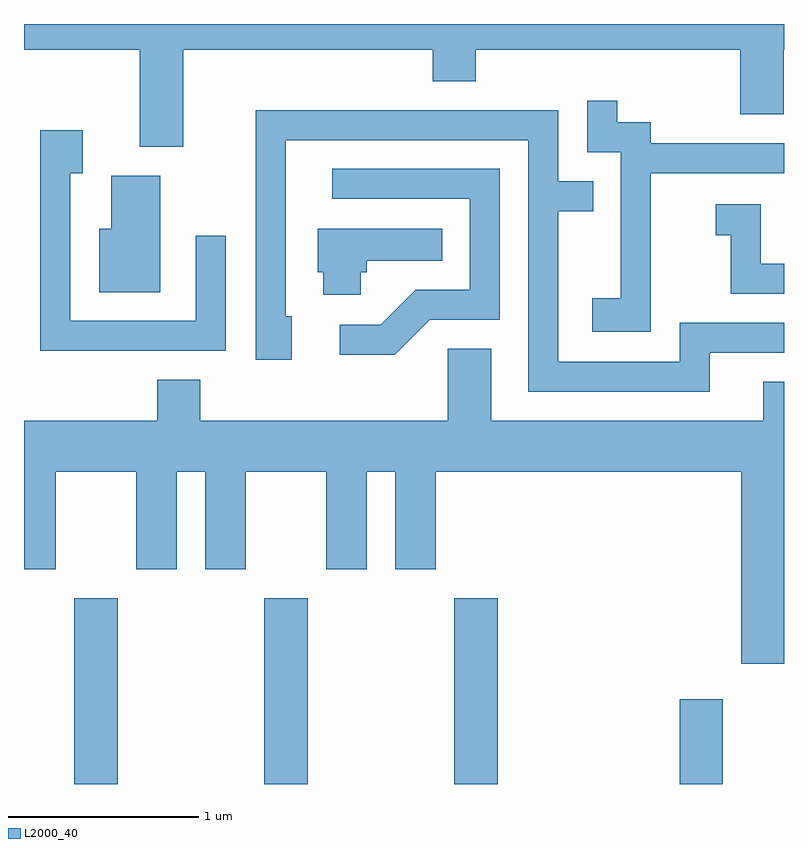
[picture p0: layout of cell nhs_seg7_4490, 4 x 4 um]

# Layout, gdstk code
import gdstk
lib = gdstk.Library(unit=1e-6, precision=1e-09)
def R(c, l, rs):  # rectangles x0, y0, x1, y1
    for r in rs: c.add(gdstk.rectangle(r[:2], r[2:], *l))
def A(c, l, x, y, w, h, nx, ny, dx, dy):  # array of equal rectangles
    R(c, l, [(x+i*dx, y+j*dy, x+i*dx+w, y+j*dy+h) for i in range(nx) for j in range(ny)])
def P(c, l, *ps):  # polygons
    for p in ps: c.add(gdstk.Polygon(p, *l))
L2000_40 = (2000, 40)

nhs_seg7_4490 = lib.new_cell('nhs_seg7_4490')
A(nhs_seg7_4490, L2000_40, 323.876, 1688.252, 0.228, 0.977, 3, 1, 1, 0)
R(nhs_seg7_4490, L2000_40, [(327.061,1688.252,327.289,1688.699)])
P(nhs_seg7_4490, L2000_40, [(324.449,1692.116),(325.761,1692.116),(325.761,1691.951),(325.989,1691.951),(325.989,1692.116),(327.381,1692.116),(327.381,1691.776),(327.609,1691.776),(327.609,1692.116),(327.611,1692.116),(327.611,1692.252),(323.611,1692.252),(323.611,1692.116),(324.221,1692.116),(324.221,1691.606),(324.449,1691.606)],
  [(326.909,1691.466),(327.611,1691.466),(327.611,1691.624),(326.909,1691.624),(326.909,1691.734),(326.734,1691.734),(326.734,1691.848),(326.576,1691.848),(326.576,1691.576),(326.751,1691.576),(326.751,1690.809),(326.601,1690.809),(326.601,1690.631),(326.909,1690.631)],
  [(327.219,1690.521),(327.611,1690.521),(327.611,1690.679),(327.061,1690.679),(327.061,1690.474),(326.424,1690.474),(326.424,1691.266),(326.608,1691.266),(326.608,1691.424),(326.424,1691.424),(326.424,1691.799),(324.831,1691.799),(324.831,1690.486),(325.019,1690.486),(325.019,1690.714),(324.989,1690.714),(324.989,1691.641),(326.266,1691.641),(326.266,1690.316),(327.219,1690.316)],
  [(324.674,1691.138),(324.516,1691.138),(324.516,1690.689),(323.854,1690.689),(323.854,1691.466),(323.919,1691.466),(323.919,1691.694),(323.696,1691.694),(323.696,1690.531),(324.674,1690.531)],
  [(325.747,1690.696),(326.114,1690.696),(326.114,1691.489),(325.233,1691.489),(325.233,1691.331),(325.956,1691.331),(325.956,1690.854),(325.674,1690.854),(325.489,1690.669),(325.273,1690.669),(325.273,1690.511),(325.562,1690.511)],
  [(324.329,1691.454),(324.071,1691.454),(324.071,1691.174),(324.006,1691.174),(324.006,1690.841),(324.329,1690.841)],
  [(327.611,1690.989),(327.489,1690.989),(327.489,1691.304),(327.253,1691.304),(327.253,1691.141),(327.331,1691.141),(327.331,1690.831),(327.611,1690.831)],
  [(325.384,1690.946),(325.414,1690.946),(325.414,1691.006),(325.813,1691.006),(325.813,1691.174),(325.156,1691.174),(325.156,1690.946),(325.186,1690.946),(325.186,1690.826),(325.384,1690.826)],
  [(327.611,1690.369),(327.501,1690.369),(327.501,1690.164),(326.069,1690.164),(326.069,1690.544),(325.841,1690.544),(325.841,1690.164),(324.539,1690.164),(324.539,1690.379),(324.311,1690.379),(324.311,1690.164),(323.611,1690.164),(323.611,1689.381),(323.779,1689.381),(323.779,1689.896),(324.201,1689.896),(324.201,1689.381),(324.414,1689.381),(324.414,1689.896),(324.566,1689.896),(324.566,1689.381),(324.779,1689.381),(324.779,1689.896),(325.201,1689.896),(325.201,1689.381),(325.414,1689.381),(325.414,1689.896),(325.566,1689.896),(325.566,1689.381),(325.779,1689.381),(325.779,1689.896),(327.386,1689.896),(327.386,1688.886),(327.611,1688.886)])

lib.write_gds('nhs_seg7_4490.gds')
